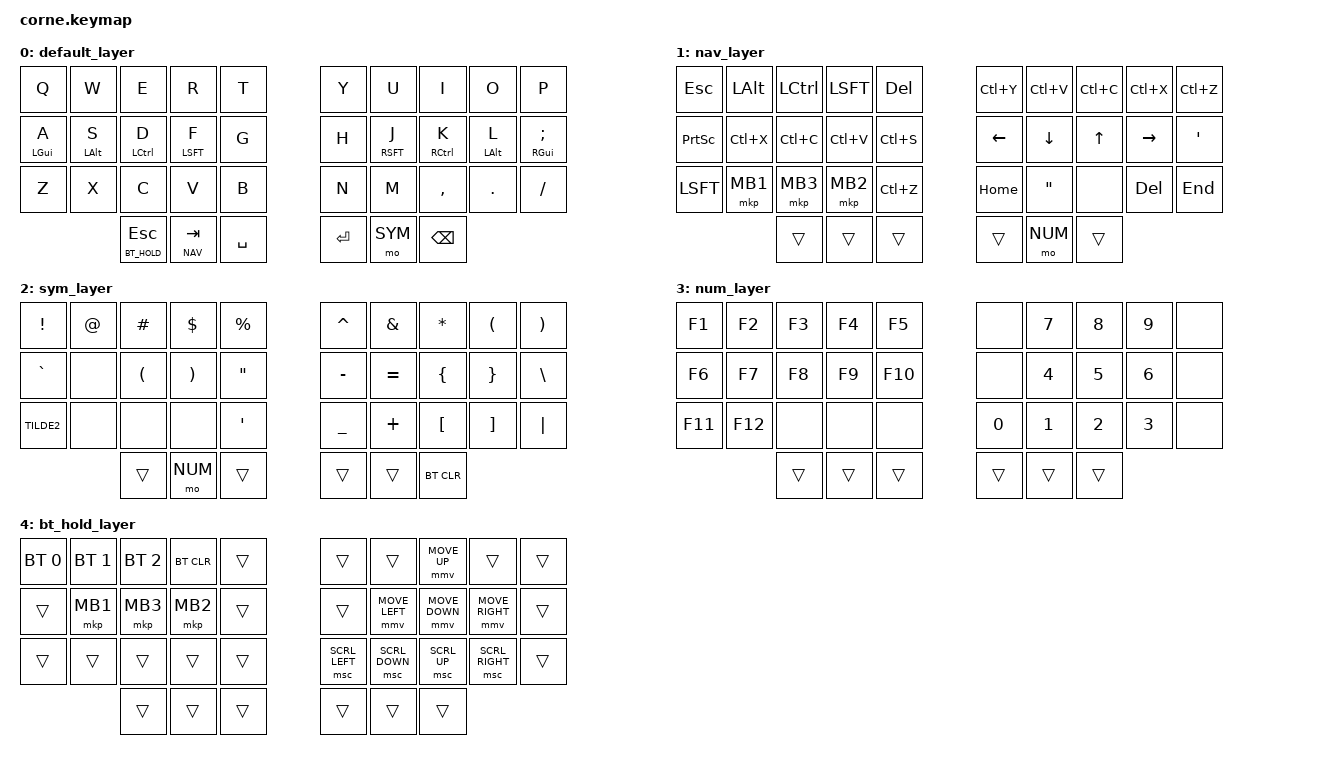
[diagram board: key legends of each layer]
// ─────────────────────────────────────────────────────────────────────────────
//  VlaCorne Wireless – ZMK Keymap
//  Converted from QMK (vlacorne_small_original / keymaps/default/keymap.c)
//
//  Layers:
//    0 BASE    – QWERTY + homerow mods
//    1 NAV     – numbers, nav cluster, edit shortcuts, mouse buttons
//    2 SYM     – symbols
//    3 NUM     – numpad
//    4 BT_HOLD – Bluetooth controls + mouse (hold Esc)
// ─────────────────────────────────────────────────────────────────────────────

#include <behaviors.dtsi>
#include <dt-bindings/zmk/keys.h>
#include <dt-bindings/zmk/bt.h>
#include <dt-bindings/zmk/mouse.h>

#define BASE    0
#define NAV     1
#define SYM     2
#define NUM     3
#define BT_HOLD 4

// ── Mouse speed tuning ───────────────────────────────────────────────────────
// NOTE: zmk,behavior-mouse-move cannot be user-instantiated (no YAML binding
// for user DTS nodes). You can only override the single built-in &mmv / &msc.
//
// To tune cursor speed: adjust time-to-max-speed-ms in &mmv below.
//   Lower  → snappier, reaches top speed faster
//   Higher → more gradual ramp, more predictable/controllable
// acceleration-exponent: 0 = constant, 1 = linear ramp, 2 = quadratic

&mmv {
    // ↓ reduce time-to-max-speed-ms for a snappier cursor, raise for more control
    time-to-max-speed-ms = <400>;
    acceleration-exponent = <1>;
};

&msc {
    // ↓ scroll feel – raise time-to-max-speed-ms to slow scrolling down
    time-to-max-speed-ms = <600>;
    acceleration-exponent = <1>;
};

/ {
    chosen {
        zmk,matrix_transform = &five_column_transform;
    };

    behaviors {
        // Homerow mod: balanced flavor, 200 ms tapping term, 150 ms prior-idle
        hm: homerow_mods {
            compatible = "zmk,behavior-hold-tap";
            #binding-cells = <2>;
            tapping-term-ms = <200>;
            quick-tap-ms = <0>;
            require-prior-idle-ms = <150>;
            flavor = "balanced";
            bindings = <&kp>, <&kp>;
        };
    };

    keymap {
        compatible = "zmk,keymap";

        // ─── Layer 0 ── BASE ─────────────────────────────────────────────────
        // ┌───────┬───────┬───────┬───────┬───────┐   ┌───────┬───────┬───────┬───────┬───────┐
        // │   Q   │   W   │   E   │   R   │   T   │   │   Y   │   U   │   I   │   O   │   P   │
        // ├───────┼───────┼───────┼───────┼───────┤   ├───────┼───────┼───────┼───────┼───────┤
        // │ GUI/A │ ALT/S │ CTL/D │ SFT/F │   G   │   │   H   │ SFT/J │ CTL/K │ ALT/L │ GUI/; │
        // ├───────┼───────┼───────┼───────┼───────┤   ├───────┼───────┼───────┼───────┼───────┤
        // │   Z   │   X   │   C   │   V   │   B   │   │   N   │   M   │   ,   │   .   │   /   │
        // └───────┴───────┴───┬───┴───┬───┴───┬───┘   └───┬───┴───┬───┴───┬───┴───────┴───────┘
        //                     │  ESC  │NAV/TAB│  SPC  │   │  ENT  │  SYM  │ BSPC  │
        //                     └───────┴───────┴───────┘   └───────┴───────┴───────┘
        default_layer {
            bindings = <
                &kp Q       &kp W       &kp E       &kp R       &kp T           &kp Y      &kp U       &kp I       &kp O       &kp P
                &hm LGUI A  &hm LALT S  &hm LCTL D  &hm LSFT F  &kp G           &kp H      &hm RSFT J  &hm RCTL K  &hm LALT L  &hm RGUI SEMI
                &kp Z       &kp X       &kp C       &kp V       &kp B           &kp N      &kp M       &kp COMMA   &kp DOT     &kp FSLH
                                        &lt BT_HOLD ESC &lt NAV TAB &kp SPACE       &kp RET    &mo SYM     &kp BSPC
            >;
        };

        // ─── Layer 1 ── NAV ──────────────────────────────────────────────────
        // ┌───────┬───────┬───────┬───────┬───────┐   ┌───────┬───────┬───────┬───────┬───────┐
        // │  ESC  │  ALT  │  CTL  │  SFT  │  DEL  │   │ REDO  │ PASTE │ COPY  │  CUT  │ UNDO  │
        // ├───────┼───────┼───────┼───────┼───────┤   ├───────┼───────┼───────┼───────┼───────┤
        // │Pr.Scr │ C(X)  │ C(C)  │ C(V)  │ C(S)  │   │ LEFT  │ DOWN  │  UP   │ RIGHT │   '   │
        // ├───────┼───────┼───────┼───────┼───────┤   ├───────┼───────┼───────┼───────┼───────┤
        // │ SHIFT │ BTN1  │ BTN3  │ BTN2  │ C(Z)  │   │ HOME  │   "   │  ---  │  DEL  │  END  │
        // └───────┴───────┴───┬───┴───┬───┴───┬───┘   └───┬───┴───┬───┴───┬───┴───────┴───────┘
        //                     │ TRNS  │ TRNS  │ TRNS  │   │ TRNS  │  NUM  │ TRNS  │
        //                     └───────┴───────┴───────┘   └───────┴───────┴───────┘
        nav_layer {
            bindings = <
                &kp ESC     &kp LALT    &kp LCTL    &kp LSFT    &kp DEL         &kp LC(Y)  &kp LC(V)   &kp LC(C)   &kp LC(X)   &kp LC(Z)
                &kp PRINTSCREEN &kp LC(X)   &kp LC(C)   &kp LC(V)   &kp LC(S)       &kp LEFT   &kp DOWN    &kp UP      &kp RIGHT   &kp SQT
                &kp LSFT    &mkp MB1    &mkp MB3    &mkp MB2    &kp LC(Z)       &kp HOME   &kp DQT     &none       &kp DEL     &kp END
                                        &trans      &trans      &trans          &trans     &mo NUM     &trans
            >;
        };

        // ─── Layer 2 ── SYM ──────────────────────────────────────────────────
        // ┌───────┬───────┬───────┬───────┬───────┐   ┌───────┬───────┬───────┬───────┬───────┐
        // │   !   │   @   │   #   │   $   │   %   │   │   ^   │   &   │   *   │   (   │   )   │
        // ├───────┼───────┼───────┼───────┼───────┤   ├───────┼───────┼───────┼───────┼───────┤
        // │ GRAVE │  ---  │   (   │   )   │   "   │   │   -   │   =   │   {   │   }   │   \   │
        // ├───────┼───────┼───────┼───────┼───────┤   ├───────┼───────┼───────┼───────┼───────┤
        // │ Tilde │  ---  │  ---  │  ---  │   '   │   │   _   │   +   │   [   │   ]   │   |   │
        // └───────┴───────┴───┬───┴───┬───┴───┬───┘   └───┬───┴───┬───┴───┬───┴───────┴───────┘
        //                     │ TRNS  │  NUM  │ TRNS  │   │ TRNS  │ TRNS  │BT_CLR │
        //                     └───────┴───────┴───────┘   └───────┴───────┴───────┘
        sym_layer {
            bindings = <
                &kp EXCL    &kp AT      &kp HASH    &kp DLLR    &kp PRCNT       &kp CARET  &kp AMPS    &kp ASTRK   &kp LPAR    &kp RPAR
                &kp GRAVE   &none       &kp LPAR    &kp RPAR    &kp DQT         &kp MINUS  &kp EQUAL   &kp LBRC    &kp RBRC    &kp BSLH
                &kp TILDE2  &none       &none       &none       &kp SQT         &kp UNDER  &kp PLUS    &kp LBKT    &kp RBKT    &kp PIPE
                                        &trans      &mo NUM     &trans          &trans     &trans      &bt BT_CLR
            >;
        };

        // ─── Layer 3 ── NUM ──────────────────────────────────────────────────
        // ┌───────┬───────┬───────┬───────┬───────┐   ┌───────┬───────┬───────┬───────┬───────┐
        // │  F1   │  F2   │  F3   │  F4   │  F5   │   │  ---  │   7   │   8   │   9   │  ---  │
        // ├───────┼───────┼───────┼───────┼───────┤   ├───────┼───────┼───────┼───────┼───────┤
        // │  F6   │  F7   │  F8   │  F9   │  F10  │   │  ---  │   4   │   5   │   6   │  ---  │
        // ├───────┼───────┼───────┼───────┼───────┤   ├───────┼───────┼───────┼───────┼───────┤
        // │  F11  │  F12  │  ---  │  ---  │  ---  │   │   0   │   1   │   2   │   3   │  ---  │
        // └───────┴───────┴───┬───┴───┬───┴───┬───┘   └───┬───┴───┬───┴───┬───┴───────┴───────┘
        //                     │ TRNS  │ TRNS  │ TRNS  │   │ TRNS  │ TRNS  │ TRNS  │
        //                     └───────┴───────┴───────┘   └───────┴───────┴───────┘
        num_layer {
            bindings = <
                &kp F1       &kp F2       &kp F3       &kp F4       &kp F5      &none      &kp N7      &kp N8      &kp N9      &none
                &kp F6       &kp F7       &kp F8       &kp F9       &kp F10     &none      &kp N4      &kp N5      &kp N6      &none
                &kp F11      &kp F12      &none        &none        &none       &kp N0     &kp N1      &kp N2      &kp N3      &none
                                          &trans       &trans       &trans      &trans     &trans      &trans
            >;
        };

        // ─── Layer 4 ── BT_HOLD ──────────────────────────────────────────────
        //
        //  Mouse layout overview:
        //   • IJKL  → cursor movement  (tune speed: &mmv time-to-max-speed-ms above)
        //               I=up (top row)  J=left  K=down  L=right
        //   • SDF   → left / middle / right click (home row, easy reach)
        //   • NM,.  → scroll wheel, spatially mirroring JKLI above them:
        //               N=scroll← M=scroll↓ ,=scroll↑ .=scroll→
        //   • /     → BT_CLR (clear current BT pairing)
        //
        // ┌───────┬───────┬───────┬───────┬───────┐   ┌───────┬───────┬───────┬───────┬───────┐
        // │ BT 0  │ BT 1  │ BT 2  │BT CLR │  ---  │   │  ---  │  ---  │ M_UP  │  ---  │  ---  │
        // ├───────┼───────┼───────┼───────┼───────┤   ├───────┼───────┼───────┼───────┼───────┤
        // │  ---  │ BTN1  │ BTN3  │ BTN2  │  ---  │   │  ---  │M_LEFT │M_DOWN │M_RIGHT│  ---  │
        // ├───────┼───────┼───────┼───────┼───────┤   ├───────┼───────┼───────┼───────┼───────┤
        // │  ---  │  ---  │  ---  │  ---  │  ---  │   │SC_LEFT│SC_DOWN│SC_UP  │SC_RGT │  ---
        // └───────┴───────┴───┬───┴───┬───┴───┬───┘   └───┬───┴───┬───┴───┬───┴───────┴───────┘
        //                     │(hold) │ TRNS  │ TRNS  │   │ TRNS  │ TRNS  │ TRNS  │
        //                     └───────┴───────┴───────┘   └───────┴───────┴───────┘
        bt_hold_layer {
            bindings = <
                &bt BT_SEL 0 &bt BT_SEL 1 &bt BT_SEL 2 &bt BT_CLR   &trans      &trans               &trans               &mmv MOVE_UP       &trans               &trans
                &trans        &mkp MB1      &mkp MB3      &mkp MB2      &trans      &trans               &mmv MOVE_LEFT       &mmv MOVE_DOWN     &mmv MOVE_RIGHT      &trans
                &trans        &trans        &trans        &trans        &trans      &msc SCRL_LEFT       &msc SCRL_DOWN       &msc SCRL_UP       &msc SCRL_RIGHT      &trans
                                            &trans        &trans        &trans      &trans               &trans               &trans
            >;
        };

    };
};
